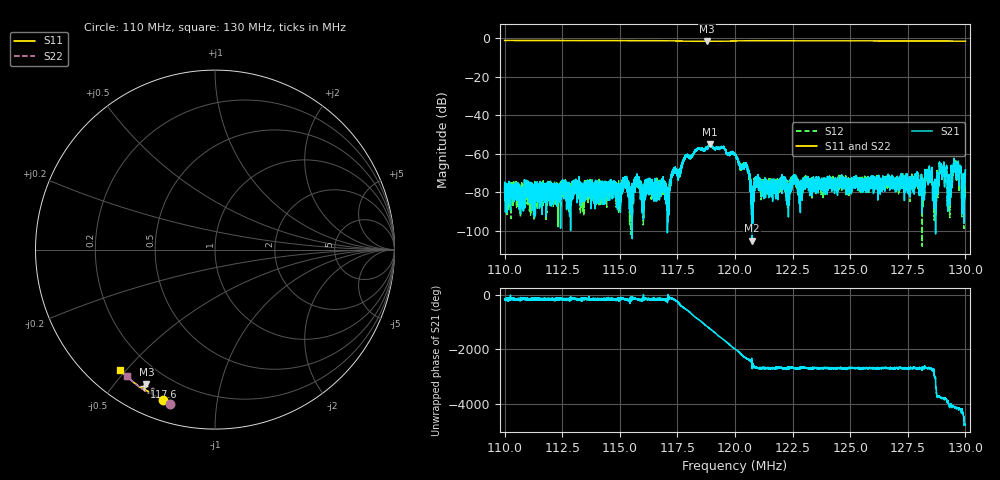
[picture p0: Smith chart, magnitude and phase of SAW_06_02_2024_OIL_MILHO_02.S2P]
!Agilent Technologies,E5071C,MY46520923,B.12.03
!Date: Tue Feb 06 10:49:37 2024
!Data & Calibration Information:
!Freq	S11:SOLT2(ON)	S21:SOLT2(ON)	S12:SOLT2(ON)	S22:SOLT2(ON)
!PortZ  Port1:50+j0  Port2:50+j0
!Above PortZ is port z conversion or system Z0 setting when saving the data.
!When reading, reference impedance value at option line is always used.
# Hz S dB R 50
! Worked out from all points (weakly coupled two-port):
!   10000 points, 110 MHz to 130 MHz, reference 50 ohm
!   highest |S21| = -55.11 dB at 118.9 MHz (marker M1); lowest = -105.2 dB at 120.7 MHz (marker M2)
!   lowest |S11| = -1.5 dB at 118.8 MHz (marker M3), VSWR 11.49, Z = 5.97 - j30.3 ohm
!   |S11| at or under -10 dB: nowhere
!   |S22| runs from -1.4 to -1.0 dB; largest |S21 - S12| = 0.00017
!   S11 on the Smith chart (normalised r, x): 110 MHz: 0.09, -0.71; 117.6 MHz: 0.10, -0.60; 130 MHz: 0.10, -0.48
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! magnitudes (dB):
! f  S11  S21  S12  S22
! 110 MHz  -1.0  -74.9  -77.6  -1.0
! 113.3 MHz  -1.1  -83.8  -79.2  -1.0
! 116.7 MHz  -1.2  -74.9  -77.8  -1.1
! 117.1 MHz  -1.2  -80.6  -85.5  -1.2
! 117.3 MHz  -1.3  -67.9  -70.2  -1.2
! 117.6 MHz  -1.3  -71.3  -69.7  -1.3
! 117.9 MHz  -1.4  -61.1  -61.7  -1.3
! 118.8 MHz  -1.5  -57.0  -56.7  -1.4
! 118.9 MHz  -1.5  -55.1  -55.7  -1.4
! 120 MHz  -1.3  -60.1  -60.2  -1.2
! 120.5 MHz  -1.2  -67.5  -67.7  -1.1
! 120.7 MHz  -1.2  -105.2  -78.4  -1.1
! 123.3 MHz  -1.2  -75.9  -75.8  -1.2
! 126.7 MHz  -1.3  -72.6  -73.8  -1.2
! 128.1 MHz  -1.3  -77.2  -78.8  -1.3
! 128.5 MHz  -1.3  -72.9  -72.4  -1.3
! 128.7 MHz  -1.3  -76.6  -76.5  -1.3
! 129 MHz  -1.4  -68.7  -68.6  -1.3
! 129.3 MHz  -1.4  -75.0  -74.9  -1.3
! 129.6 MHz  -1.4  -65.7  -65.1  -1.3
! 129.9 MHz  -1.4  -76.3  -72.6  -1.3
! 130 MHz  -1.4  -68.4  -68.7  -1.3
